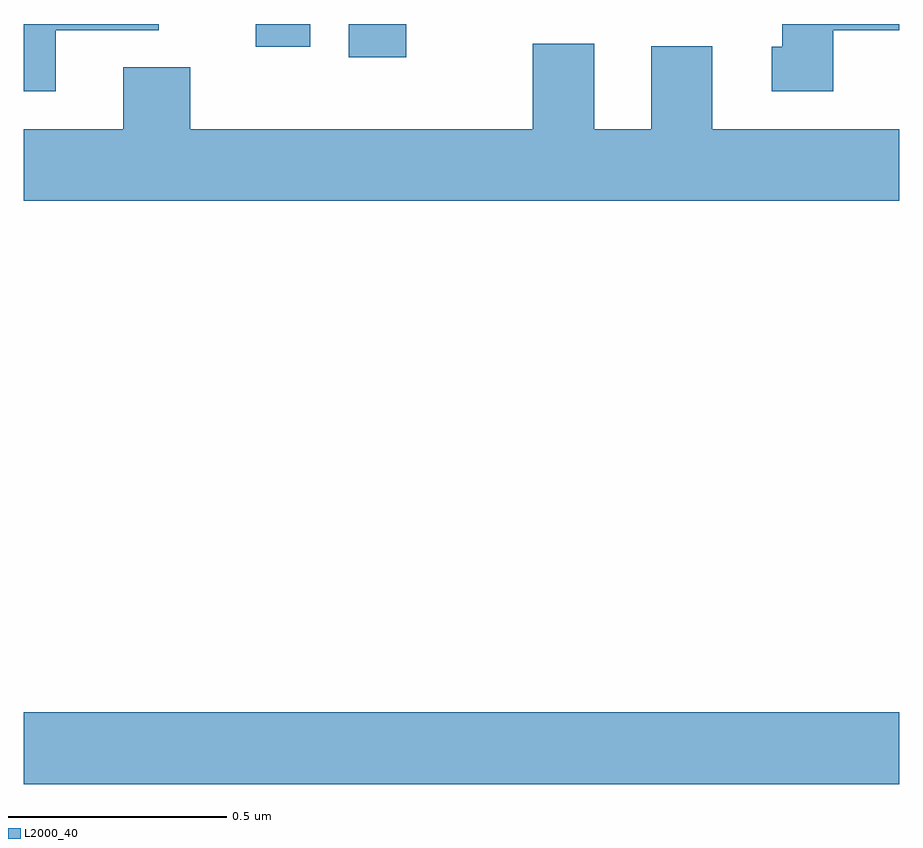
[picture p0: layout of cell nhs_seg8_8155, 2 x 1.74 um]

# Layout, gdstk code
import gdstk
lib = gdstk.Library(unit=1e-6, precision=1e-09)
def R(c, l, rs):  # rectangles x0, y0, x1, y1
    for r in rs: c.add(gdstk.rectangle(r[:2], r[2:], *l))
def P(c, l, *ps):  # polygons
    for p in ps: c.add(gdstk.Polygon(p, *l))
L2000_40 = (2000, 40)

nhs_seg8_8155 = lib.new_cell('nhs_seg8_8155')
R(nhs_seg8_8155, L2000_40, [(219,1119.164,221,1119.328), (219.743,1120.824,219.874,1120.9), (219.53,1120.848,219.655,1120.9)])
P(nhs_seg8_8155, L2000_40, [(220.849,1120.886),(221,1120.886),(221,1120.9),(220.733,1120.9),(220.733,1120.848),(220.709,1120.848),(220.709,1120.746),(220.849,1120.746)],
  [(219.073,1120.886),(219.309,1120.886),(219.309,1120.9),(219,1120.9),(219,1120.746),(219.073,1120.746)],
  [(221,1120.66),(220.573,1120.66),(220.573,1120.849),(220.433,1120.849),(220.433,1120.66),(220.303,1120.66),(220.303,1120.855),(220.163,1120.855),(220.163,1120.66),(219.38,1120.66),(219.38,1120.801),(219.227,1120.801),(219.227,1120.66),(219,1120.66),(219,1120.496),(221,1120.496)])

lib.write_gds('nhs_seg8_8155.gds')
